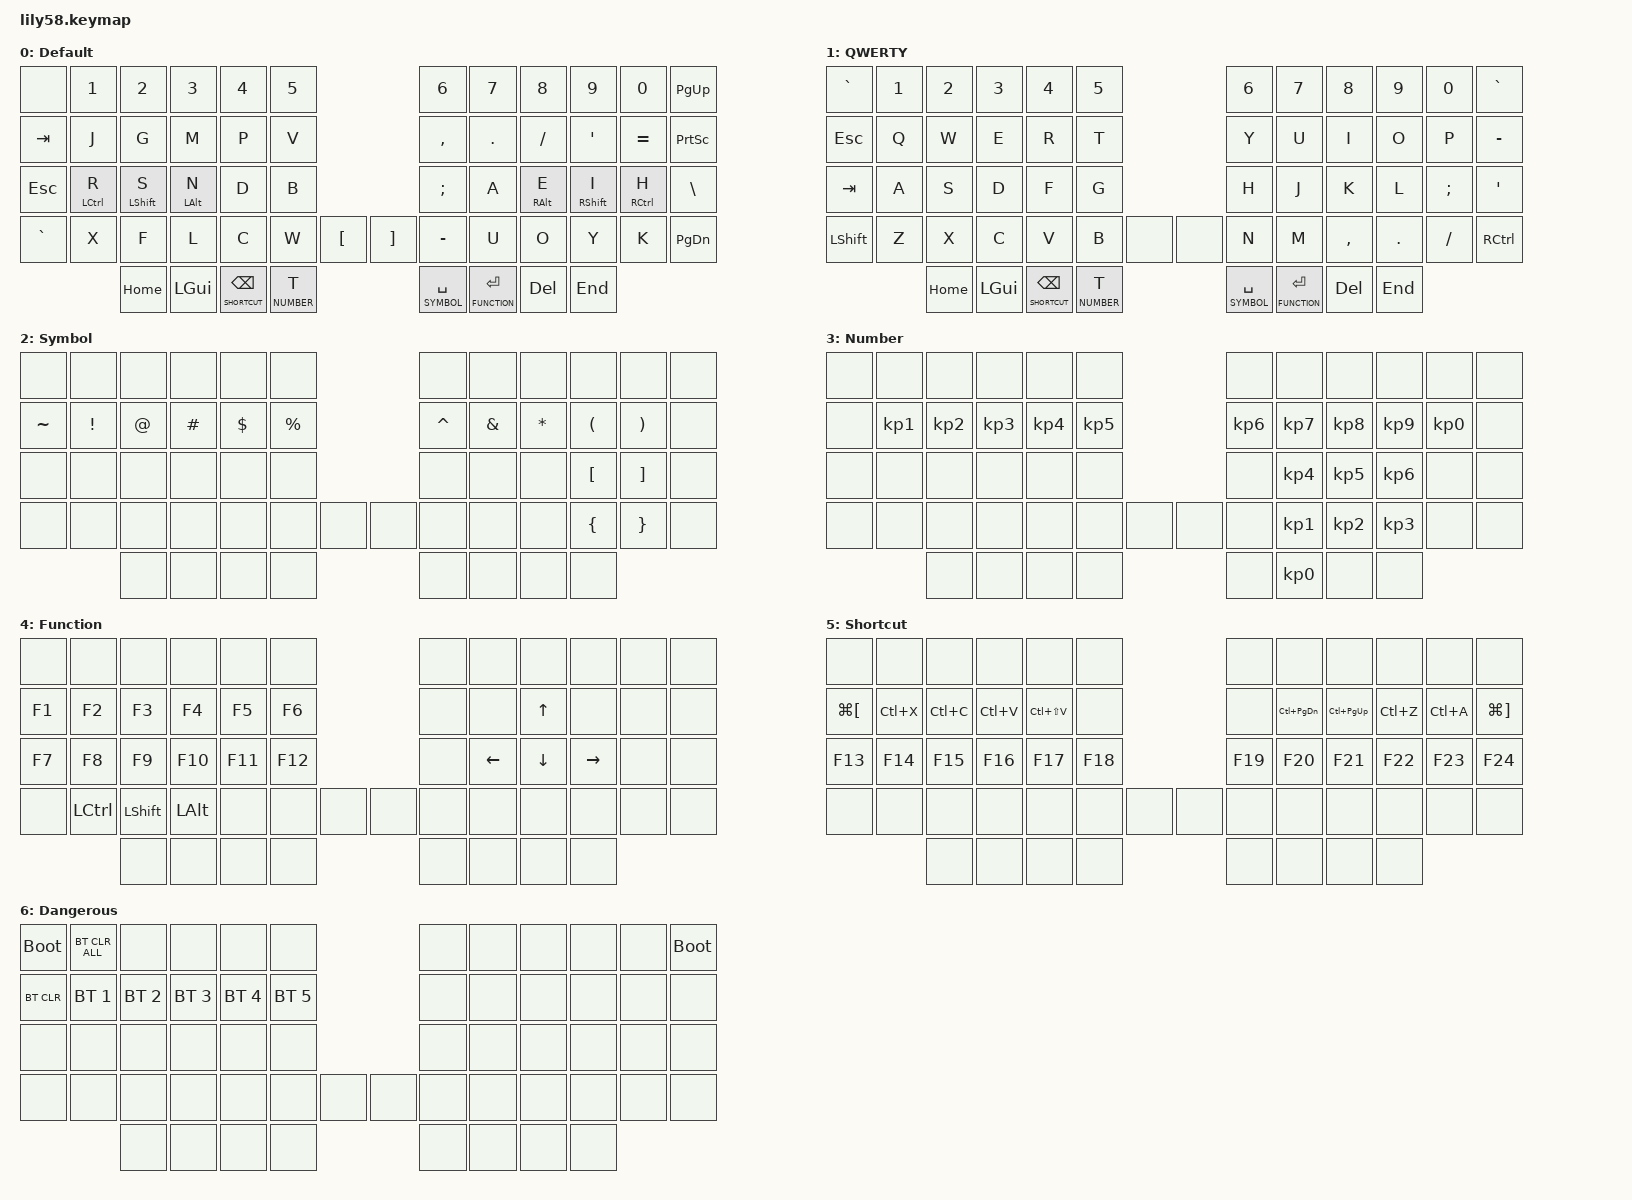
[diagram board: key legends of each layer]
/*
 * Copyright (c) 2020 The ZMK Contributors
 *
 * SPDX-License-Identifier: MIT
 */

#include <behaviors.dtsi>
#include <dt-bindings/zmk/keys.h>
#include <dt-bindings/zmk/bt.h>
#include <dt-bindings/zmk/ext_power.h>

#define DEFAULT 0
#define QWERTY 1
#define SYMBOL 2
#define NUMBER 3
#define FUNCTION 4
#define SHORTCUT 5
#define DANGEROUS 6

&mt {
    tapping-term-ms = <200>;
    require-prior-idle-ms = <200>;
    flavor = "tap-preferred";
};

/ {
    combos {
        compatible = "zmk,combos";
        combo_key_z {
            timeout-ms = <20>;
            key-positions = <13 14>;
            layers = <DEFAULT>;
            bindings = <&kp Z>;
        };
        combo_key_q {
            timeout-ms = <20>;
            key-positions = <46 48>;
            layers = <DEFAULT>;
            bindings = <&kp Q>;
        };
        combo_to_default_layer {
            timeout-ms = <20>;
            key-positions = <0 12 24>;
            bindings = <&to 0>;
        };
        combo_to_qwerty_layer {
            timeout-ms = <20>;
            key-positions = <11 23 35>;
            layers = <DEFAULT>;
            bindings = <&to 1>;
        };
        combos_oneshot_dangerous {
            timeout-ms = <20>;
            key-positions = <0 1 2>;
            layers = <SHORTCUT>;
            bindings = <&sl DANGEROUS>;
        };
    };
};

/ {
    keymap {
        compatible = "zmk,keymap";

        default_layer {
            display-name = "Default";
            bindings = <
&none           &kp N1          &kp N2          &kp N3          &kp N4          &kp N5                                          &kp N6          &kp N7          &kp N8          &kp N9          &kp N0          &kp PG_UP
&kp TAB         &kp J           &kp G           &kp M           &kp P           &kp V                                           &kp COMMA       &kp DOT         &kp FSLH        &kp SQT         &kp EQUAL       &kp PSCRN
&kp ESC         &mt LCTRL R     &mt LSHFT S     &mt LALT N      &kp D           &kp B                                           &kp SEMI        &kp A           &mt RALT E      &mt RSHFT I     &mt RCTRL H     &kp BSLH
&kp GRAVE       &kp X           &kp F           &kp L           &kp C           &kp W           &kp LBKT        &kp RBKT        &kp MINUS       &kp U           &kp O           &kp Y           &kp K           &kp PG_DN
                                &kp HOME        &kp LGUI        &lt SHORTCUT BSPC &lt NUMBER T                                  &lt SYMBOL SPACE &lt FUNCTION RET &kp DEL       &kp END
            >;
        };

        qwerty_layer {
            display-name = "QWERTY";
            bindings = <
&kp GRAVE       &kp N1          &kp N2          &kp N3          &kp N4          &kp N5                                          &kp N6          &kp N7          &kp N8          &kp N9          &kp N0          &kp GRAVE
&kp ESC         &kp Q           &kp W           &kp E           &kp R           &kp T                                           &kp Y           &kp U           &kp I           &kp O           &kp P           &kp MINUS
&kp TAB         &kp A           &kp S           &kp D           &kp F           &kp G                                           &kp H           &kp J           &kp K           &kp L           &kp SEMI        &kp SQT
&kp LSHIFT      &kp Z           &kp X           &kp C           &kp V           &kp B           &none           &none           &kp N           &kp M           &kp COMMA       &kp DOT         &kp FSLH        &kp RCTRL
                                &kp HOME        &kp LGUI        &lt SHORTCUT BSPC &lt NUMBER T                                  &lt SYMBOL SPACE &lt FUNCTION RET &kp DEL       &kp END
            >;
        };

        symbol_layer {
            display-name = "Symbol";
            bindings = <
&none           &none           &none           &none           &none           &none                                           &none           &none           &none           &none           &none           &none
&kp TILDE       &kp EXCL        &kp AT          &kp HASH        &kp DOLLAR      &kp PERCENT                                     &kp CARET       &kp AMPS        &kp ASTRK       &kp LPAR        &kp RPAR        &none
&none           &none           &none           &none           &none           &none                                           &none           &none           &none           &kp LBKT        &kp RBKT        &none
&none           &none           &none           &none           &none           &none           &none           &none           &none           &none           &none           &kp LEFT_BRACE  &kp RIGHT_BRACE &none
                                &none           &none           &none           &none                                           &none           &none           &none           &none
            >;
        };

        number_layer {
            display-name = "Number";
            bindings = <
&none           &none           &none           &none           &none           &none                                           &none           &none           &none           &none           &none           &none
&none           &kp KP_N1       &kp KP_N2       &kp KP_N3       &kp KP_N4       &kp KP_N5                                       &kp KP_N6       &kp KP_N7       &kp KP_N8       &kp KP_N9       &kp KP_N0       &none
&none           &none           &none           &none           &none           &none                                           &none           &kp KP_N4       &kp KP_N5       &kp KP_N6       &none           &none
&none           &none           &none           &none           &none           &none           &none           &none           &none           &kp KP_N1       &kp KP_N2       &kp KP_N3       &none           &none
                                &none           &none           &none           &none                                           &none           &kp KP_N0       &none           &none
            >;
        };

        function_layer {
            display-name = "Function";
            bindings = <
&none           &none           &none           &none           &none           &none                                           &none           &none           &none           &none           &none           &none
&kp F1          &kp F2          &kp F3          &kp F4          &kp F5          &kp F6                                          &none           &none           &kp UP          &none           &none           &none
&kp F7          &kp F8          &kp F9          &kp F10         &kp F11         &kp F12                                         &none           &kp LEFT        &kp DOWN        &kp RIGHT       &none           &none
&none           &kp LCTRL       &kp LSHFT       &kp LALT        &none           &none           &none           &none           &none           &none           &none           &none           &none           &none
                                &none           &none           &none           &none                                           &none           &none           &none           &none
            >;
        };

        shortcut_layer {
            display-name = "Shortcut";
            bindings = <
&none           &none           &none           &none           &none           &none                                           &none           &none           &none           &none           &none           &none
&kp LG(LBKT)    &kp LC(X)       &kp LC(C)       &kp LC(V)       &kp LC(LS(V))   &none                                           &none           &kp LC(PG_DN)   &kp LC(PG_UP)   &kp LC(Z)       &kp LC(A)       &kp LG(RBKT)
&kp F13         &kp F14         &kp F15         &kp F16         &kp F17         &kp F18                                         &kp F19         &kp F20         &kp F21         &kp F22         &kp F23         &kp F24
&none           &none           &none           &none           &none           &none           &none           &none           &none           &none           &none           &none           &none           &none
                                &none           &none           &none           &none                                           &none           &none           &none           &none
            >;
        };

        dangerous_layer {
            display-name = "Dangerous";
            bindings = <
&bootloader     &bt BT_CLR_ALL  &none           &none           &none           &none                                           &none           &none           &none           &none           &none           &bootloader
&bt BT_CLR      &bt BT_SEL 1    &bt BT_SEL 2    &bt BT_SEL 3    &bt BT_SEL 4    &bt BT_SEL 5                                    &none           &none           &none           &none           &none           &none
&none           &none           &none           &none           &none           &none                                           &none           &none           &none           &none           &none           &none
&none           &none           &none           &none           &none           &none           &none           &none           &none           &none           &none           &none           &none           &none
                                &none           &none           &none           &none                                           &none           &none           &none           &none
            >;
        };
    };
};
